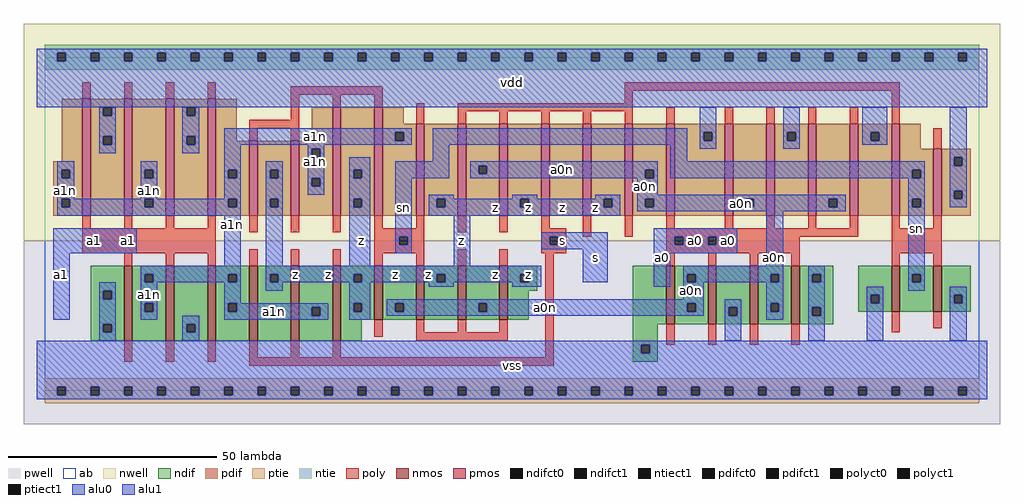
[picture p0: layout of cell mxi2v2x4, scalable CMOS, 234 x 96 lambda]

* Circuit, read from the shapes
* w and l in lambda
.subckt mxi2v2x4 a0 a0n a1 a1n s sn vdd vss z
M1 a1n a1 vss vss nfet w=18 l=2 m=3
M2 z s a1n vss nfet w=18 l=2 m=3
M3 a0n sn z vss nfet w=13 l=2 m=4
M4 a0n a0 vss vss nfet w=14 l=2 m=4
M5 sn s vss vss nfet w=11 l=2 m=2
M6 vdd a1 a1n vdd pfet w=28 l=2 m=4
M7 z sn a1n vdd pfet w=18 l=2 m=2
M8 z sn a1n vdd pfet w=26 l=2 m=2
M9 z sn a1n vdd pfet w=22 l=2
M10 a0n s z vdd pfet w=22 l=2 m=5
M11 vdd a0 a0n vdd pfet w=22 l=2 m=5
M12 sn s vdd vdd pfet w=22 l=2
M13 vdd s sn vdd pfet w=16 l=2
.ends

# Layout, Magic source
magic
tech scmos
<< ab >>
rect 0 0 224 80
<< nwell >>
rect -5 36 229 88
<< pwell >>
rect -5 -8 229 36
<< poly >>
rect 9 70 11 74
rect 19 70 21 74
rect 29 70 31 74
rect 39 70 41 74
rect 59 71 81 73
rect 59 65 61 71
rect 69 68 71 71
rect 79 68 81 71
rect 139 72 205 74
rect 139 69 141 72
rect 49 63 61 65
rect 49 60 51 63
rect 59 60 61 63
rect 89 64 91 69
rect 99 67 141 69
rect 99 64 101 67
rect 109 64 111 67
rect 119 64 121 67
rect 129 64 131 67
rect 139 64 141 67
rect 149 64 151 68
rect 163 64 165 68
rect 173 64 175 68
rect 183 64 185 68
rect 193 64 195 68
rect 203 64 205 72
rect 213 58 215 63
rect 9 39 11 42
rect 19 39 21 42
rect 29 39 31 42
rect 39 39 41 42
rect 9 37 41 39
rect 49 38 51 42
rect 59 38 61 42
rect 69 38 71 42
rect 79 39 81 42
rect 89 39 91 42
rect 9 35 11 37
rect 13 35 19 37
rect 21 35 41 37
rect 9 33 41 35
rect 79 37 91 39
rect 99 38 101 42
rect 109 38 111 42
rect 119 39 121 42
rect 79 35 85 37
rect 87 35 91 37
rect 19 30 21 33
rect 29 30 31 33
rect 39 30 41 33
rect 49 30 51 34
rect 59 30 61 34
rect 69 30 71 34
rect 79 33 91 35
rect 119 37 125 39
rect 129 37 131 42
rect 139 37 141 42
rect 149 39 151 42
rect 163 39 165 42
rect 173 39 175 42
rect 183 39 185 42
rect 193 39 195 42
rect 149 37 195 39
rect 203 39 205 42
rect 213 39 215 42
rect 119 35 121 37
rect 123 35 125 37
rect 79 30 81 33
rect 89 30 91 33
rect 99 30 101 34
rect 109 30 111 34
rect 119 33 125 35
rect 149 35 151 37
rect 153 35 159 37
rect 161 35 181 37
rect 149 33 181 35
rect 79 13 81 17
rect 89 14 91 17
rect 99 14 101 17
rect 109 14 111 17
rect 89 12 111 14
rect 19 7 21 12
rect 29 7 31 12
rect 39 7 41 12
rect 49 8 51 12
rect 59 8 61 12
rect 69 8 71 12
rect 120 8 122 33
rect 149 30 151 33
rect 159 30 161 33
rect 169 30 171 33
rect 179 30 181 33
rect 203 33 215 39
rect 203 30 205 33
rect 213 30 215 33
rect 49 6 122 8
rect 149 11 151 16
rect 159 11 161 16
rect 169 11 171 16
rect 179 11 181 16
rect 203 14 205 19
rect 213 15 215 19
<< ndif >>
rect 11 24 19 30
rect 11 22 14 24
rect 16 22 19 24
rect 11 16 19 22
rect 11 14 14 16
rect 16 14 19 16
rect 11 12 19 14
rect 21 28 29 30
rect 21 26 24 28
rect 26 26 29 28
rect 21 21 29 26
rect 21 19 24 21
rect 26 19 29 21
rect 21 12 29 19
rect 31 16 39 30
rect 31 14 34 16
rect 36 14 39 16
rect 31 12 39 14
rect 41 28 49 30
rect 41 26 44 28
rect 46 26 49 28
rect 41 21 49 26
rect 41 19 44 21
rect 46 19 49 21
rect 41 12 49 19
rect 51 28 59 30
rect 51 26 54 28
rect 56 26 59 28
rect 51 12 59 26
rect 61 20 69 30
rect 61 18 64 20
rect 66 18 69 20
rect 61 12 69 18
rect 71 28 79 30
rect 71 26 74 28
rect 76 26 79 28
rect 71 21 79 26
rect 71 19 74 21
rect 76 19 79 21
rect 71 17 79 19
rect 81 21 89 30
rect 81 19 84 21
rect 86 19 89 21
rect 81 17 89 19
rect 91 28 99 30
rect 91 26 94 28
rect 96 26 99 28
rect 91 17 99 26
rect 101 21 109 30
rect 101 19 104 21
rect 106 19 109 21
rect 101 17 109 19
rect 111 28 118 30
rect 111 26 114 28
rect 116 26 118 28
rect 111 24 118 26
rect 111 17 116 24
rect 71 12 76 17
rect 141 16 149 30
rect 151 28 159 30
rect 151 26 154 28
rect 156 26 159 28
rect 151 21 159 26
rect 151 19 154 21
rect 156 19 159 21
rect 151 16 159 19
rect 161 20 169 30
rect 161 18 164 20
rect 166 18 169 20
rect 161 16 169 18
rect 171 28 179 30
rect 171 26 174 28
rect 176 26 179 28
rect 171 21 179 26
rect 171 19 174 21
rect 176 19 179 21
rect 171 16 179 19
rect 181 28 189 30
rect 181 26 184 28
rect 186 26 189 28
rect 181 20 189 26
rect 181 18 184 20
rect 186 18 189 20
rect 195 23 203 30
rect 195 21 198 23
rect 200 21 203 23
rect 195 19 203 21
rect 205 28 213 30
rect 205 26 208 28
rect 210 26 213 28
rect 205 19 213 26
rect 215 23 222 30
rect 215 21 218 23
rect 220 21 222 23
rect 215 19 222 21
rect 181 16 189 18
rect 141 11 147 16
rect 141 9 143 11
rect 145 9 147 11
rect 141 7 147 9
<< pdif >>
rect 4 55 9 70
rect 2 53 9 55
rect 2 51 4 53
rect 6 51 9 53
rect 2 46 9 51
rect 2 44 4 46
rect 6 44 9 46
rect 2 42 9 44
rect 11 68 19 70
rect 11 66 14 68
rect 16 66 19 68
rect 11 61 19 66
rect 11 59 14 61
rect 16 59 19 61
rect 11 42 19 59
rect 21 53 29 70
rect 21 51 24 53
rect 26 51 29 53
rect 21 46 29 51
rect 21 44 24 46
rect 26 44 29 46
rect 21 42 29 44
rect 31 68 39 70
rect 31 66 34 68
rect 36 66 39 68
rect 31 61 39 66
rect 31 59 34 61
rect 36 59 39 61
rect 31 42 39 59
rect 41 60 46 70
rect 64 60 69 68
rect 41 53 49 60
rect 41 51 44 53
rect 46 51 49 53
rect 41 46 49 51
rect 41 44 44 46
rect 46 44 49 46
rect 41 42 49 44
rect 51 53 59 60
rect 51 51 54 53
rect 56 51 59 53
rect 51 46 59 51
rect 51 44 54 46
rect 56 44 59 46
rect 51 42 59 44
rect 61 58 69 60
rect 61 56 64 58
rect 66 56 69 58
rect 61 51 69 56
rect 61 49 64 51
rect 66 49 69 51
rect 61 42 69 49
rect 71 53 79 68
rect 71 51 74 53
rect 76 51 79 53
rect 71 46 79 51
rect 71 44 74 46
rect 76 44 79 46
rect 71 42 79 44
rect 81 64 86 68
rect 81 62 89 64
rect 81 60 84 62
rect 86 60 89 62
rect 81 42 89 60
rect 91 46 99 64
rect 91 44 94 46
rect 96 44 99 46
rect 91 42 99 44
rect 101 54 109 64
rect 101 52 104 54
rect 106 52 109 54
rect 101 42 109 52
rect 111 46 119 64
rect 111 44 114 46
rect 116 44 119 46
rect 111 42 119 44
rect 121 54 129 64
rect 121 52 124 54
rect 126 52 129 54
rect 121 42 129 52
rect 131 46 139 64
rect 131 44 134 46
rect 136 44 139 46
rect 131 42 139 44
rect 141 53 149 64
rect 141 51 144 53
rect 146 51 149 53
rect 141 46 149 51
rect 141 44 144 46
rect 146 44 149 46
rect 141 42 149 44
rect 151 62 163 64
rect 151 60 158 62
rect 160 60 163 62
rect 151 42 163 60
rect 165 46 173 64
rect 165 44 168 46
rect 170 44 173 46
rect 165 42 173 44
rect 175 62 183 64
rect 175 60 178 62
rect 180 60 183 62
rect 175 42 183 60
rect 185 46 193 64
rect 185 44 188 46
rect 190 44 193 46
rect 185 42 193 44
rect 195 62 203 64
rect 195 60 198 62
rect 200 60 203 62
rect 195 42 203 60
rect 205 58 210 64
rect 205 53 213 58
rect 205 51 208 53
rect 210 51 213 53
rect 205 46 213 51
rect 205 44 208 46
rect 210 44 213 46
rect 205 42 213 44
rect 215 56 222 58
rect 215 54 218 56
rect 220 54 222 56
rect 215 48 222 54
rect 215 46 218 48
rect 220 46 222 48
rect 215 42 222 46
<< alu1 >>
rect -2 81 226 82
rect -2 79 3 81
rect 5 79 11 81
rect 13 79 19 81
rect 21 79 27 81
rect 29 79 35 81
rect 37 79 43 81
rect 45 79 51 81
rect 53 79 59 81
rect 61 79 67 81
rect 69 79 75 81
rect 77 79 83 81
rect 85 79 91 81
rect 93 79 99 81
rect 101 79 107 81
rect 109 79 115 81
rect 117 79 123 81
rect 125 79 131 81
rect 133 79 139 81
rect 141 79 147 81
rect 149 79 155 81
rect 157 79 163 81
rect 165 79 171 81
rect 173 79 179 81
rect 181 79 187 81
rect 189 79 195 81
rect 197 79 203 81
rect 205 79 211 81
rect 213 79 219 81
rect 221 79 226 81
rect -2 68 226 79
rect 2 37 22 39
rect 2 35 11 37
rect 13 35 19 37
rect 21 35 22 37
rect 2 33 22 35
rect 2 17 6 33
rect 53 53 57 55
rect 53 51 54 53
rect 56 51 57 53
rect 53 46 57 51
rect 73 53 78 56
rect 73 51 74 53
rect 76 51 78 53
rect 53 44 54 46
rect 56 44 57 46
rect 53 30 57 44
rect 73 46 78 51
rect 73 44 74 46
rect 76 44 78 46
rect 73 30 78 44
rect 92 46 98 47
rect 112 46 118 47
rect 132 46 138 47
rect 92 44 94 46
rect 96 44 114 46
rect 116 44 134 46
rect 136 44 138 46
rect 92 42 138 44
rect 98 30 102 42
rect 119 37 135 38
rect 119 35 121 37
rect 123 35 135 37
rect 119 34 135 35
rect 53 28 119 30
rect 53 26 54 28
rect 56 26 74 28
rect 76 26 94 28
rect 96 26 114 28
rect 116 26 119 28
rect 129 26 135 34
rect 146 37 166 39
rect 146 35 151 37
rect 153 35 159 37
rect 161 35 166 37
rect 146 33 166 35
rect 53 24 57 26
rect 73 21 78 26
rect 92 25 98 26
rect 112 25 119 26
rect 146 25 150 33
rect 73 19 74 21
rect 76 19 78 21
rect 73 17 78 19
rect -2 11 226 12
rect -2 9 143 11
rect 145 9 226 11
rect -2 1 226 9
rect -2 -1 3 1
rect 5 -1 11 1
rect 13 -1 19 1
rect 21 -1 27 1
rect 29 -1 35 1
rect 37 -1 43 1
rect 45 -1 51 1
rect 53 -1 59 1
rect 61 -1 67 1
rect 69 -1 75 1
rect 77 -1 83 1
rect 85 -1 91 1
rect 93 -1 99 1
rect 101 -1 107 1
rect 109 -1 115 1
rect 117 -1 123 1
rect 125 -1 131 1
rect 133 -1 139 1
rect 141 -1 147 1
rect 149 -1 155 1
rect 157 -1 163 1
rect 165 -1 171 1
rect 173 -1 179 1
rect 181 -1 187 1
rect 189 -1 195 1
rect 197 -1 203 1
rect 205 -1 211 1
rect 213 -1 219 1
rect 221 -1 226 1
rect -2 -2 226 -1
<< ptie >>
rect 0 1 224 3
rect 0 -1 3 1
rect 5 -1 11 1
rect 13 -1 19 1
rect 21 -1 27 1
rect 29 -1 35 1
rect 37 -1 43 1
rect 45 -1 51 1
rect 53 -1 59 1
rect 61 -1 67 1
rect 69 -1 75 1
rect 77 -1 83 1
rect 85 -1 91 1
rect 93 -1 99 1
rect 101 -1 107 1
rect 109 -1 115 1
rect 117 -1 123 1
rect 125 -1 131 1
rect 133 -1 139 1
rect 141 -1 147 1
rect 149 -1 155 1
rect 157 -1 163 1
rect 165 -1 171 1
rect 173 -1 179 1
rect 181 -1 187 1
rect 189 -1 195 1
rect 197 -1 203 1
rect 205 -1 211 1
rect 213 -1 219 1
rect 221 -1 224 1
rect 0 -3 224 -1
<< ntie >>
rect 0 81 224 83
rect 0 79 3 81
rect 5 79 11 81
rect 13 79 19 81
rect 21 79 27 81
rect 29 79 35 81
rect 37 79 43 81
rect 45 79 51 81
rect 53 79 59 81
rect 61 79 67 81
rect 69 79 75 81
rect 77 79 83 81
rect 85 79 91 81
rect 93 79 99 81
rect 101 79 107 81
rect 109 79 115 81
rect 117 79 123 81
rect 125 79 131 81
rect 133 79 139 81
rect 141 79 147 81
rect 149 79 155 81
rect 157 79 163 81
rect 165 79 171 81
rect 173 79 179 81
rect 181 79 187 81
rect 189 79 195 81
rect 197 79 203 81
rect 205 79 211 81
rect 213 79 219 81
rect 221 79 224 81
rect 0 77 224 79
<< nmos >>
rect 19 12 21 30
rect 29 12 31 30
rect 39 12 41 30
rect 49 12 51 30
rect 59 12 61 30
rect 69 12 71 30
rect 79 17 81 30
rect 89 17 91 30
rect 99 17 101 30
rect 109 17 111 30
rect 149 16 151 30
rect 159 16 161 30
rect 169 16 171 30
rect 179 16 181 30
rect 203 19 205 30
rect 213 19 215 30
<< pmos >>
rect 9 42 11 70
rect 19 42 21 70
rect 29 42 31 70
rect 39 42 41 70
rect 49 42 51 60
rect 59 42 61 60
rect 69 42 71 68
rect 79 42 81 68
rect 89 42 91 64
rect 99 42 101 64
rect 109 42 111 64
rect 119 42 121 64
rect 129 42 131 64
rect 139 42 141 64
rect 149 42 151 64
rect 163 42 165 64
rect 173 42 175 64
rect 183 42 185 64
rect 193 42 195 64
rect 203 42 205 64
rect 213 42 215 58
<< polyct0 >>
rect 85 35 87 37
<< polyct1 >>
rect 11 35 13 37
rect 19 35 21 37
rect 121 35 123 37
rect 151 35 153 37
rect 159 35 161 37
<< ndifct0 >>
rect 14 22 16 24
rect 14 14 16 16
rect 24 26 26 28
rect 24 19 26 21
rect 34 14 36 16
rect 44 26 46 28
rect 44 19 46 21
rect 64 18 66 20
rect 84 19 86 21
rect 104 19 106 21
rect 154 26 156 28
rect 154 19 156 21
rect 164 18 166 20
rect 174 26 176 28
rect 174 19 176 21
rect 184 26 186 28
rect 184 18 186 20
rect 198 21 200 23
rect 208 26 210 28
rect 218 21 220 23
<< ndifct1 >>
rect 54 26 56 28
rect 74 26 76 28
rect 74 19 76 21
rect 94 26 96 28
rect 114 26 116 28
rect 143 9 145 11
<< ntiect1 >>
rect 3 79 5 81
rect 11 79 13 81
rect 19 79 21 81
rect 27 79 29 81
rect 35 79 37 81
rect 43 79 45 81
rect 51 79 53 81
rect 59 79 61 81
rect 67 79 69 81
rect 75 79 77 81
rect 83 79 85 81
rect 91 79 93 81
rect 99 79 101 81
rect 107 79 109 81
rect 115 79 117 81
rect 123 79 125 81
rect 131 79 133 81
rect 139 79 141 81
rect 147 79 149 81
rect 155 79 157 81
rect 163 79 165 81
rect 171 79 173 81
rect 179 79 181 81
rect 187 79 189 81
rect 195 79 197 81
rect 203 79 205 81
rect 211 79 213 81
rect 219 79 221 81
<< ptiect1 >>
rect 3 -1 5 1
rect 11 -1 13 1
rect 19 -1 21 1
rect 27 -1 29 1
rect 35 -1 37 1
rect 43 -1 45 1
rect 51 -1 53 1
rect 59 -1 61 1
rect 67 -1 69 1
rect 75 -1 77 1
rect 83 -1 85 1
rect 91 -1 93 1
rect 99 -1 101 1
rect 107 -1 109 1
rect 115 -1 117 1
rect 123 -1 125 1
rect 131 -1 133 1
rect 139 -1 141 1
rect 147 -1 149 1
rect 155 -1 157 1
rect 163 -1 165 1
rect 171 -1 173 1
rect 179 -1 181 1
rect 187 -1 189 1
rect 195 -1 197 1
rect 203 -1 205 1
rect 211 -1 213 1
rect 219 -1 221 1
<< pdifct0 >>
rect 4 51 6 53
rect 4 44 6 46
rect 14 66 16 68
rect 14 59 16 61
rect 24 51 26 53
rect 24 44 26 46
rect 34 66 36 68
rect 34 59 36 61
rect 44 51 46 53
rect 44 44 46 46
rect 64 56 66 58
rect 64 49 66 51
rect 84 60 86 62
rect 104 52 106 54
rect 124 52 126 54
rect 144 51 146 53
rect 144 44 146 46
rect 158 60 160 62
rect 168 44 170 46
rect 178 60 180 62
rect 188 44 190 46
rect 198 60 200 62
rect 208 51 210 53
rect 208 44 210 46
rect 218 54 220 56
rect 218 46 220 48
<< pdifct1 >>
rect 54 51 56 53
rect 54 44 56 46
rect 74 51 76 53
rect 74 44 76 46
rect 94 44 96 46
rect 114 44 116 46
rect 134 44 136 46
<< alu0 >>
rect 13 66 14 68
rect 16 66 17 68
rect 13 61 17 66
rect 13 59 14 61
rect 16 59 17 61
rect 13 57 17 59
rect 33 66 34 68
rect 36 66 37 68
rect 33 61 37 66
rect 33 59 34 61
rect 36 59 37 61
rect 33 57 37 59
rect 43 62 88 63
rect 43 60 84 62
rect 86 60 88 62
rect 43 59 88 60
rect 93 59 154 63
rect 3 53 7 55
rect 3 51 4 53
rect 6 51 7 53
rect 3 46 7 51
rect 23 53 27 55
rect 23 51 24 53
rect 26 51 27 53
rect 23 46 27 51
rect 43 53 47 59
rect 63 58 67 59
rect 63 56 64 58
rect 66 56 67 58
rect 43 51 44 53
rect 46 51 47 53
rect 43 46 47 51
rect 3 44 4 46
rect 6 44 24 46
rect 26 44 44 46
rect 46 44 47 46
rect 3 42 47 44
rect 43 30 47 42
rect 23 28 47 30
rect 23 26 24 28
rect 26 26 44 28
rect 46 26 47 28
rect 13 24 17 26
rect 13 22 14 24
rect 16 22 17 24
rect 13 16 17 22
rect 23 21 27 26
rect 23 19 24 21
rect 26 19 27 21
rect 23 17 27 19
rect 43 21 47 26
rect 63 51 67 56
rect 63 49 64 51
rect 66 49 67 51
rect 63 47 67 49
rect 93 55 97 59
rect 150 55 154 59
rect 157 62 161 68
rect 157 60 158 62
rect 160 60 161 62
rect 157 58 161 60
rect 177 62 181 68
rect 177 60 178 62
rect 180 60 181 62
rect 177 58 181 60
rect 196 62 202 68
rect 196 60 198 62
rect 200 60 202 62
rect 196 59 202 60
rect 217 56 221 68
rect 84 51 97 55
rect 102 54 147 55
rect 102 52 104 54
rect 106 52 124 54
rect 126 53 147 54
rect 126 52 144 53
rect 102 51 144 52
rect 146 51 147 53
rect 150 53 211 55
rect 150 51 208 53
rect 210 51 211 53
rect 84 37 88 51
rect 142 47 147 51
rect 142 46 192 47
rect 142 44 144 46
rect 146 44 168 46
rect 170 44 188 46
rect 190 44 192 46
rect 142 43 192 44
rect 207 46 211 51
rect 207 44 208 46
rect 210 44 211 46
rect 217 54 218 56
rect 220 54 221 56
rect 217 48 221 54
rect 217 46 218 48
rect 220 46 221 48
rect 217 44 221 46
rect 84 35 85 37
rect 87 35 88 37
rect 84 33 88 35
rect 173 30 177 43
rect 153 28 177 30
rect 153 26 154 28
rect 156 26 174 28
rect 176 26 177 28
rect 153 22 158 26
rect 43 19 44 21
rect 46 20 68 21
rect 46 19 64 20
rect 43 18 64 19
rect 66 18 68 20
rect 13 14 14 16
rect 16 14 17 16
rect 13 12 17 14
rect 33 16 37 18
rect 43 17 68 18
rect 82 21 158 22
rect 82 19 84 21
rect 86 19 104 21
rect 106 19 154 21
rect 156 19 158 21
rect 82 18 158 19
rect 163 20 167 22
rect 163 18 164 20
rect 166 18 167 20
rect 33 14 34 16
rect 36 14 37 16
rect 33 12 37 14
rect 163 12 167 18
rect 173 21 177 26
rect 173 19 174 21
rect 176 19 177 21
rect 173 17 177 19
rect 183 28 187 30
rect 183 26 184 28
rect 186 26 187 28
rect 183 20 187 26
rect 207 28 211 44
rect 207 26 208 28
rect 210 26 211 28
rect 183 18 184 20
rect 186 18 187 20
rect 183 12 187 18
rect 197 23 201 25
rect 207 24 211 26
rect 197 21 198 23
rect 200 21 201 23
rect 197 12 201 21
rect 217 23 221 25
rect 217 21 218 23
rect 220 21 221 23
rect 217 12 221 21
<< labels >>
rlabel alu0 25 23 25 23 6 a1n
rlabel alu0 25 48 25 48 6 a1n
rlabel alu0 5 48 5 48 6 a1n
rlabel alu0 55 19 55 19 6 a1n
rlabel alu0 65 55 65 55 6 a1n
rlabel alu0 45 40 45 40 6 a1n
rlabel alu0 86 44 86 44 6 sn
rlabel alu0 65 61 65 61 6 a1n
rlabel alu0 120 20 120 20 6 a0n
rlabel alu0 155 24 155 24 6 a0n
rlabel alu0 175 32 175 32 6 a0n
rlabel alu0 144 49 144 49 6 a0n
rlabel alu0 124 53 124 53 6 a0n
rlabel alu0 167 45 167 45 6 a0n
rlabel alu0 209 39 209 39 6 sn
rlabel polyct1 12 36 12 36 6 a1
rlabel polyct1 20 36 20 36 6 a1
rlabel alu1 4 28 4 28 6 a1
rlabel alu1 100 36 100 36 6 z
rlabel alu1 108 28 108 28 6 z
rlabel alu1 92 28 92 28 6 z
rlabel alu1 76 36 76 36 6 z
rlabel alu1 60 28 60 28 6 z
rlabel alu1 68 28 68 28 6 z
rlabel alu1 84 28 84 28 6 z
rlabel alu1 108 44 108 44 6 z
rlabel alu1 112 6 112 6 6 vss
rlabel alu1 116 28 116 28 6 z
rlabel alu1 164 36 164 36 6 a0
rlabel alu1 156 36 156 36 6 a0
rlabel alu1 148 32 148 32 6 a0
rlabel alu1 124 36 124 36 6 s
rlabel alu1 132 32 132 32 6 s
rlabel alu1 132 44 132 44 6 z
rlabel alu1 124 44 124 44 6 z
rlabel alu1 116 44 116 44 6 z
rlabel alu1 112 74 112 74 6 vdd
<< end >>
